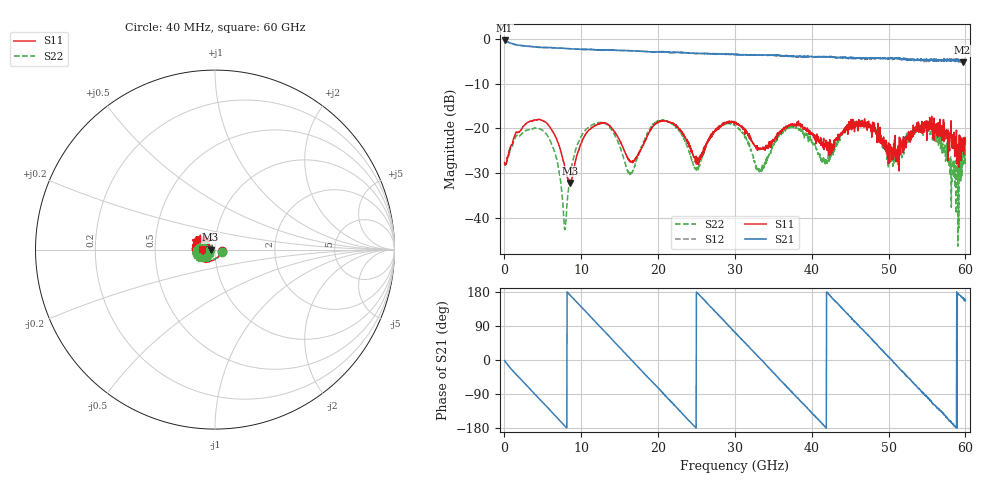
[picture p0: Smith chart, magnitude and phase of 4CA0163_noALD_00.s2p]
! File created by 'SoftPlot +Plus+ Measurement Management Software'
! SoftPlot +Plus+ Measurement Management Software
! Start 40.000000 MHz  Stop 60.000000 GHz  Points 1601
# MHZ S RI R 50
! S-Parameter data, F S11 S21 S12 S22
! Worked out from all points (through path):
!   1601 points, 40 MHz to 60 GHz, reference 50 ohm
!   highest |S21| = -0.38 dB at 40 MHz (marker M1); lowest = -5.3 dB at 59.63 GHz (marker M2)
!   group delay of S21, straight-line fit = 59.2 ps
!   lowest |S11| = -32.2 dB at 8.509 GHz (marker M3), VSWR 1.05, Z = 47.6 + j0.0374 ohm
!   |S11| at or under -10 dB: start of sweep to end of sweep
!   |S22| runs from -46.3 to -18.1 dB; largest |S21 - S12| = 0.056
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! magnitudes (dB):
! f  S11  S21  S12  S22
! 40 MHz  -27.6  -0.4  -0.4  -27.7
! 4.724 GHz  -18.1  -1.9  -1.9  -20.2
! 6.673 GHz  -21.8  -2.1  -2.1  -26.0
! 7.835 GHz  -28.2  -2.2  -2.2  -42.4
! 8.509 GHz  -32.2  -2.2  -2.2  -31.1
! 10.05 GHz  -23.2  -2.4  -2.4  -21.7
! 13.34 GHz  -19.0  -2.5  -2.5  -19.1
! 16.38 GHz  -27.3  -2.7  -2.7  -30.1
! 20.05 GHz  -18.7  -2.9  -2.9  -18.3
! 25.04 GHz  -26.6  -3.3  -3.2  -29.3
! 27.36 GHz  -20.6  -3.4  -3.4  -20.7
! 30.02 GHz  -18.6  -3.5  -3.5  -19.2
! 33.13 GHz  -24.5  -3.6  -3.6  -29.0
! 36.58 GHz  -19.7  -3.9  -3.9  -20.6
! 40.03 GHz  -21.4  -3.9  -4.1  -23.0
! 41.79 GHz  -23.9  -4.0  -4.0  -27.9
! 46.66 GHz  -19.2  -4.4  -4.5  -18.9
! 50.03 GHz  -23.2  -4.5  -4.5  -26.8
! 54.57 GHz  -19.7  -4.7  -4.8  -18.9
! 58.84 GHz  -20.4  -4.9  -4.6  -33.0
! 59.63 GHz  -23.9  -5.3  -4.7  -27.1
! 60 GHz  -22.8  -4.8  -4.9  -24.4
